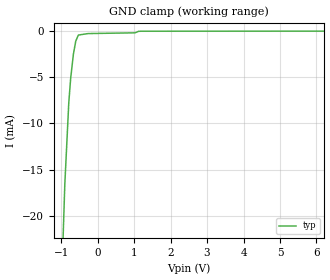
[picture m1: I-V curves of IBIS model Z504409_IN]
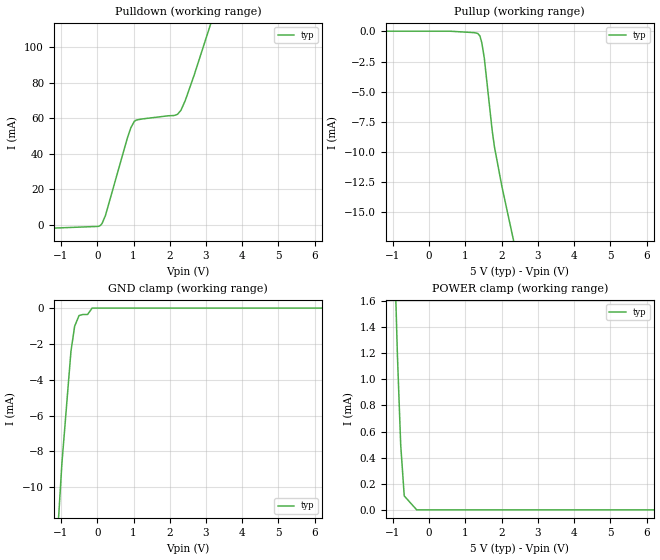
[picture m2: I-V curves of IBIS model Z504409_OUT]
| YOU ARE ONLY AUTHORIZED TO USE THIS SOFTWARE
| ACCORDING TO LICENSOR'S LICENSE RESTRICTIONS.
[IBIS Ver] 3.1
[File Name] sn54ls195aj.ibs
[File Rev] 2.0
[Source] Measured and created by ICX Technology
[Date] Friday 7/14/00 9:08:14 AM
[Copyright]
| (C) COPYRIGHT 1993-2000
| MENTOR GRAPHICS CORPORATION
| ICX STANDARD LIBRARY, ICX PROJECT MODELING,
| ICX CUSTOM MODELING, ICX VENDOR MODEL
| ALL RIGHTS RESERVED.
| THE FOLLOWING ARE TRADEMARKS OR SERVICE MARKS OF
| MENTOR GRAPHICS CORPORATION:ICX (R), ICX STANDARD
| LIBRARY(R), ICX PROJECT MODELING(R), ICX CUSTOM
| MODELING(R), qualityIBIS(TM), MODELVIEWER(TM),
| AND MODELEDITOR(TM)
| ALL COPIES OF SOFTWARE, INCLUDING BUT NOT LIMITED TO
| ANY MODIFICATIONS, ENHANCEMENTS OR DERIVATIVE WORKS,
| MUST CONTAIN ALL MENTOR GRAPHICS CORPORATION'S
| NOTICES AND LEGENDS, INCLUDING THOSE EMBEDDED IN
| SOFTWARE AND THOSE AFFIXED TO SOFTWARE MEDIUM
| AND CONTAINER, AS RECEIVED FROM MENTOR GRAPHICS
| CORPORATION.
|  ZAP Model Builder 2.7
[Component] SN54LS195AJ
[Manufacturer] OnSemiconductor
[Package]
| variable   typ   min   max
R_pkg  .212ohms NA NA
L_pkg  4.758nH NA NA
C_pkg  1.944pF NA NA
[Pin] signal_name  model_name  R_pin  L_pin C_pin
1 _CLR Z504409_IN .224 7.258n 2.683p
2 J Z504409_IN .216 5.258n 2.19p
3 _K Z504409_IN .208 3.758n 1.697p
4 A Z504409_IN .2 2.758n 1.204p
5 B Z504409_IN .2 2.758n 1.204p
6 C Z504409_IN .208 3.758n 1.697p
7 D Z504409_IN .216 5.258n 2.19p
8 GND GND .224 7.258n 2.683p
9 SH_LD Z504409_IN .224 7.258n 2.683p
10 CLK Z504409_IN .216 5.258n 2.19p
11 _QD Z504409_OUT .208 3.758n 1.697p
12 QD Z504409_OUT .2 2.758n 1.204p
13 QC Z504409_OUT .2 2.758n 1.204p
14 QB Z504409_OUT .208 3.758n 1.697p
15 QA Z504409_OUT .216 5.258n 2.19p
16 VCC POWER .224 7.258n 2.683p
| Models and submodels in the file (2): Z504409_IN (Input), Z504409_OUT (Output)
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| (C) COPYRIGHT 1993-2000
| MENTOR GRAPHICS CORPORATION
| ICX STANDARD LIBRARY, ICX PROJECT MODELING,
| ICX CUSTOM MODELING, ICX VENDOR MODEL
| ALL RIGHTS RESERVED.
| THE FOLLOWING ARE TRADEMARKS OR SERVICE MARKS OF
| MENTOR GRAPHICS CORPORATION:ICX (R), ICX STANDARD
| LIBRARY(R), ICX PROJECT MODELING(R), ICX CUSTOM
| MODELING(R), qualityIBIS(TM), MODELVIEWER(TM),
| AND MODELEDITOR(TM)
| ALL COPIES OF SOFTWARE, INCLUDING BUT NOT LIMITED TO
| ANY MODIFICATIONS, ENHANCEMENTS OR DERIVATIVE WORKS,
| MUST CONTAIN ALL MENTOR GRAPHICS CORPORATION'S
| NOTICES AND LEGENDS, INCLUDING THOSE EMBEDDED IN
| SOFTWARE AND THOSE AFFIXED TO SOFTWARE MEDIUM
| AND CONTAINER, AS RECEIVED FROM MENTOR GRAPHICS
| CORPORATION.
| Model Application Version 1.89 2/18/99.
[Model] Z504409_IN
Model_type Input
Vinl = 800.0mV
Vinh = 2.000V
C_comp 4.000pF NA NA
| variable typ   min   max
[Voltage Range] 5.000V NA NA
[GND Clamp Reference] 0.000V NA NA
[POWER Clamp Reference] 5.000V NA NA
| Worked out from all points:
|   GND clamp passes 1 mA (typ) near -0.59 V on its own axis
[GND Clamp]
-5V       -519.5mA   NA         NA
-898.5mV  -16.57mA   NA         NA
-789.1mV  -7.693mA   NA         NA
-737.3mV  -5.061mA   NA         NA
-661.9mV  -2.45mA    NA         NA
-598.9mV  -1.076mA   NA         NA
-527.3mV  -416.4uA   NA         NA
-263.7mV  -253.1uA   NA         NA
1.028V    -173.4uA   NA         NA
1.123V    -11.92uA   NA         NA
1.187V    936.6nA    NA         NA
10V       16uA       NA         NA
[POWER Clamp]
-5V       0A         NA         NA
10V       0A         NA         NA
| (C) COPYRIGHT 1993-2000
| MENTOR GRAPHICS CORPORATION
| ICX STANDARD LIBRARY, ICX PROJECT MODELING,
| ICX CUSTOM MODELING, ICX VENDOR MODEL
| ALL RIGHTS RESERVED.
| THE FOLLOWING ARE TRADEMARKS OR SERVICE MARKS OF
| MENTOR GRAPHICS CORPORATION:ICX (R), ICX STANDARD
| LIBRARY(R), ICX PROJECT MODELING(R), ICX CUSTOM
| MODELING(R), qualityIBIS(TM), MODELVIEWER(TM),
| AND MODELEDITOR(TM)
| ALL COPIES OF SOFTWARE, INCLUDING BUT NOT LIMITED TO
| ANY MODIFICATIONS, ENHANCEMENTS OR DERIVATIVE WORKS,
| MUST CONTAIN ALL MENTOR GRAPHICS CORPORATION'S
| NOTICES AND LEGENDS, INCLUDING THOSE EMBEDDED IN
| SOFTWARE AND THOSE AFFIXED TO SOFTWARE MEDIUM
| AND CONTAINER, AS RECEIVED FROM MENTOR GRAPHICS
| CORPORATION.
| Model Application Version 1.89 2/18/99.
[Model] Z504409_OUT
Model_type Output
Vref=5.000V
Rref=2.000kohms
Cref=15.00pF
Vmeas=1.300V
C_comp 8.000pF NA NA
| variable typ   min   max
[Voltage Range] 5.000V NA NA
[POWER Clamp Reference] 5.000V NA NA
[Pullup Reference] 5.000V NA NA
[Pulldown Reference] 0.000V NA NA
[GND Clamp Reference] 0.000V NA NA
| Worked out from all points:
|   slope of the pulldown table from 0 to 0.75 V, typ, clamps not added: 17 ohm
|   slope of the pullup table from 0 to 0.75 V, typ, clamps not added: 23 kohm
|   GND clamp passes 1 mA (typ) near -0.62 V on its own axis
|   POWER clamp passes 1 mA (typ) near -0.85 V on its own axis
[GND Clamp]
-5V       -141.3mA   NA         NA
-976.6mV  -8.66mA    NA         NA
-726.5mV  -2.397mA   NA         NA
-625mV    -1.014mA   NA         NA
-503.4mV  -414uA     NA         NA
-394.6mV  -357.4uA   NA         NA
-268.7mV  -357.4uA   NA         NA
-142.8mV  0A         NA         NA
10V       0A         NA         NA
[Pulldown]
-5V       -4.903mA   NA         NA
48.83mV   -907.3uA   NA         NA
131.6mV   649.2uA    NA         NA
224.3mV   5.076mA    NA         NA
831.5mV   48.92mA    NA         NA
928mV     54.67mA    NA         NA
1.022V    58.27mA    NA         NA
2.217V    62.24mA    NA         NA
2.31V     64.5mA     NA         NA
2.427V    69.91mA    NA         NA
2.67V     84.04mA    NA         NA
10V       548.4mA    NA         NA
[Pullup]
-5V       18.36uA    NA         NA
566mV     18.36uA    NA         NA
1.242V    -101.3uA   NA         NA
1.343V    -168.6uA   NA         NA
1.401V    -375.7uA   NA         NA
1.453V    -928.2uA   NA         NA
1.523V    -2.24mA    NA         NA
1.738V    -8.185mA   NA         NA
1.802V    -9.581mA   NA         NA
2.008V    -12.87mA   NA         NA
10V       -124.2mA   NA         NA
[POWER Clamp]
-5V       47.59mA    NA         NA
-1.006V   2.448mA    NA         NA
-877mV    1.189mA    NA         NA
-786mV    499.1uA    NA         NA
-688mV    106.7uA    NA         NA
-344mV    0A         NA         NA
10V       0A         NA         NA
[Ramp]
| variable typ min max
dV/dt_r 1.933/10.15n NA NA
dV/dt_f 1.933/3.252n NA NA
R_load = 500.0Ohms
